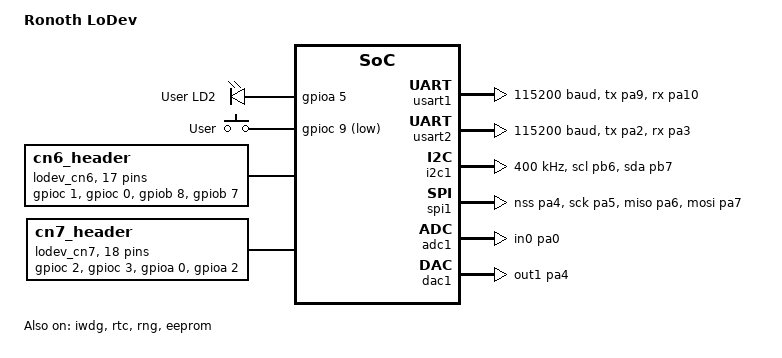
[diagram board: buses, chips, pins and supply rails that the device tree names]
/*
 * Copyright (c)  2020/2021 Dean Weiten <dmw@weiten.com>
 *
 * SPDX-License-Identifier: Apache-2.0
 */

/*
 * Note: SPI2 and several GPIOs are not available in the S76S - these are connected
 * to the in-package Semtech SX1276 LoRa transceiver.  See the documentation for details.
 */

/dts-v1/;
#include <acsip/s76s.dtsi>
#include <zephyr/dt-bindings/input/input-event-codes.h>

/ {
	model = "Ronoth LoDev";
	compatible = "ronoth,lodev";

	chosen {
		zephyr,console = &usart1;
		zephyr,shell-uart = &usart1;
		zephyr,sram = &sram0;
		zephyr,flash = &flash0;
	};

	/*
	 * On Ronoth LoDev and perhaps other boards,
	 * Red LED on PA5.
	 */
	leds {
		compatible = "gpio-leds";
		red_led_0: led_0 {
			gpios = <&gpioa 5 GPIO_ACTIVE_HIGH>;
			label = "User LD2";
		};
	};

	/* Arbitrarily use PC9 as a button input. */
	gpio_keys {
		compatible = "gpio-keys";
		user_button: button {
			label = "User";
			gpios = <&gpioc 9 GPIO_ACTIVE_LOW>;
			zephyr,code = <INPUT_KEY_0>;
		};
	};

	cn6_header: lodev_connector_1 {
		compatible = "lodev_cn6";
		#gpio-cells = <2>;
		gpio-map-mask = <0xffffffff 0xffffffc0>;
		gpio-map-pass-thru = <0 0x3f>;
		gpio-map =	/*	<0 0 -      - 0>,		 3.3V */
		/*	<1 0 -      - 0>,		 GND */
			<2 0 &gpioc 1 0>,		/* PC1 */
			<3 0 &gpioc 0 0>,		/* PC0 */
			<4 0 &gpiob 8 0>,		/* PB8 */
		/*	<5 0 -      - 0>,		 BOOT0 */
			<6 0 &gpiob 7 0>,		/* PB7 */
			<7 0 &gpiob 6 0>,		/* PB6 */
			<8 0 &gpiob 5 0>,		/* PB5 */
			<9 0 &gpiod 2 0>,		/* PD2 */
			<10 0 &gpioc 12 0>,		/* PC12 */
			<11 0 &gpioc 11 0>,		/* PC11 */
			<12 0 &gpioc 10 0>,		/* PC10 */
			<13 0 &gpioa 14 0>,		/* PA14 / SWCLK */
			<14 0 &gpioa 13 0>,		/* PA13 / SWDIO */
			<15 0 &gpioa 12 0>,		/* PA12 */
			<16 0 &gpioa 11 0>,		/* PA11 */
			<17 0 &gpioa 9 0>,		/* PA9 (UART1 Rx connected to USB) */
			<18 0 &gpioa 10 0>,		/* PA10 (UART1 Tx connected to USB) */
			<19 0 &gpioa 8 0>;		/* PA8 */
	};

	cn7_header: lodev_connector_2 {
		compatible = "lodev_cn7";
		#gpio-cells = <2>;
		gpio-map-mask = <0xffffffff 0xffffffc0>;
		gpio-map-pass-thru = <0 0x3f>;
		gpio-map =		<0 0 &gpioc 2 0>,		/* PC2 */
			<1 0 &gpioc 3 0>,		/* PC3 */
		/*	<2 0 -      - 0>,		 nRESET */
			<3 0 &gpioa 0 0>,		/* PA0 */
			<4 0 &gpioa 2 0>,		/* PA2 */
			<4 0 &gpioa 3 0>,		/* PA3 */
			<6 0 &gpioa 4 0>,		/* PA4 */
			<7 0 &gpioa 5 0>,		/* PA5 - connected to red LED1 */
			<8 0 &gpioa 6 0>,		/* PA6 */
			<9 0 &gpioa 7 0>,		/* PA7 */
			<10 0 &gpioc 4 0>,		/* PC4 */
			<11 0 &gpioc 5 0>,		/* PC5 */
			<12 0 &gpiob 0 0>,		/* PB0 */
			<13 0 &gpiob 1 0>,		/* PB1 */
			<14 0 &gpioc 6 0>,		/* PC6 */
			<15 0 &gpioc 7 0>,		/* PC7 */
			<16 0 &gpioc 8 0>,		/* PC8 */
			<17 0 &gpioc 9 0>,		/* PC9 */
		/*	<18 0 -      - 0>,		 GND */
			<19 0 &gpioa 1 0>;		/* PA1 (also used in S76S as "RF FEM CPS" */
	};

	aliases {
		led0 = &red_led_0;
		sw0 = &user_button;
		eeprom-0 = &eeprom;
		lora0 = &lora;
		watchdog0 = &iwdg;
	};
};

&clk_lsi {
	status = "okay";
};

&clk_hsi48 {
	status = "okay";
};

&clk_hsi {
	status = "okay";
};

&rcc {
	clocks = <&clk_hsi>;
	clock-frequency = <DT_FREQ_M(16)>;
	ahb-prescaler = <1>;
	apb1-prescaler = <1>;
	apb2-prescaler = <1>;
};

&usart1 {
	pinctrl-0 = <&usart1_tx_pa9 &usart1_rx_pa10>;
	pinctrl-names = "default";
	current-speed = <115200>;
	status = "okay";
};

&usart2 {
	pinctrl-0 = <&usart2_tx_pa2 &usart2_rx_pa3>;
	pinctrl-names = "default";
	current-speed = <115200>;
	status = "okay";
};

&i2c1 {
	pinctrl-0 = <&i2c1_scl_pb6 &i2c1_sda_pb7>;
	pinctrl-names = "default";
	clock-frequency = <I2C_BITRATE_FAST>;
	status = "okay";
};

&spi1 {
	pinctrl-0 = <&spi1_nss_pa4 &spi1_sck_pa5 &spi1_miso_pa6 &spi1_mosi_pa7>;
	pinctrl-names = "default";
	status = "okay";
};

&iwdg {
	status = "okay";
};

&adc1 {
	pinctrl-0 = <&adc_in0_pa0>;
	pinctrl-names = "default";
	st,adc-clock-source = "SYNC";
	st,adc-prescaler = <4>;
	status = "okay";
};

&dac1 {
	status = "okay";
	pinctrl-0 = <&dac_out1_pa4>;
	pinctrl-names = "default";
};

&rtc {
	clocks = <&rcc STM32_CLOCK_BUS_APB1 0x10000000>,
		 <&rcc STM32_SRC_LSI RTC_SEL(2)>;
	status = "okay";
};

&rng {
	clocks = <&rcc STM32_CLOCK_BUS_AHB1 0x00100000>,
		 <&rcc STM32_SRC_HSI48 HSI48_SEL(1)>;
	status = "okay";
};

&eeprom {
	status = "okay";
};
